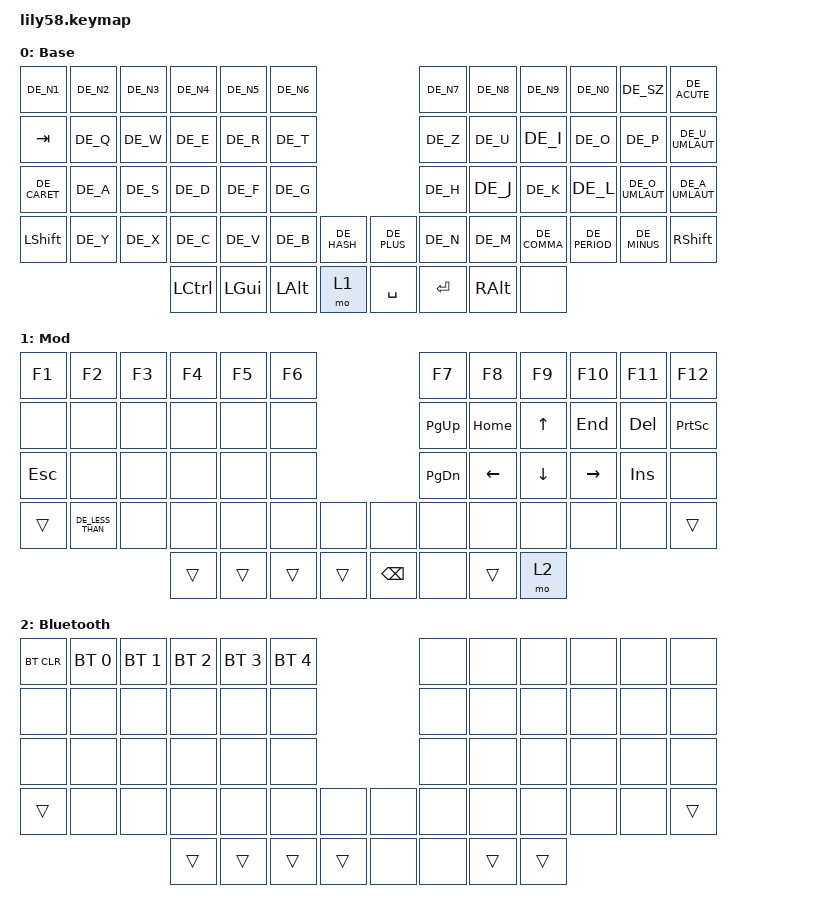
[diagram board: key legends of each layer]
/*
 * Copyright (c) 2020 The ZMK Contributors
 *
 * SPDX-License-Identifier: MIT
 */

#include "keys_de.h"
#include <behaviors.dtsi>
#include <dt-bindings/zmk/bt.h>
#include <dt-bindings/zmk/keys.h>

/ {
    keymap {
        compatible = "zmk,keymap";

        base {
            bindings = <
&kp DE_N1     &kp DE_N2  &kp DE_N3  &kp DE_N4         &kp DE_N5     &kp DE_N6                                 &kp DE_N7  &kp DE_N8      &kp DE_N9     &kp DE_N0      &kp DE_SZ        &kp DE_ACUTE
&kp TAB       &kp DE_Q   &kp DE_W   &kp DE_E          &kp DE_R      &kp DE_T                                  &kp DE_Z   &kp DE_U       &kp DE_I      &kp DE_O       &kp DE_P         &kp DE_U_UMLAUT
&kp DE_CARET  &kp DE_A   &kp DE_S   &kp DE_D          &kp DE_F      &kp DE_G                                  &kp DE_H   &kp DE_J       &kp DE_K      &kp DE_L       &kp DE_O_UMLAUT  &kp DE_A_UMLAUT
&kp LSHFT     &kp DE_Y   &kp DE_X   &kp DE_C          &kp DE_V      &kp DE_B      &kp DE_HASH    &kp DE_PLUS  &kp DE_N   &kp DE_M       &kp DE_COMMA  &kp DE_PERIOD  &kp DE_MINUS     &kp RSHFT
                                    &kp LEFT_CONTROL  &kp LEFT_GUI  &kp LEFT_ALT  &mo 1          &kp SPACE    &kp ENTER  &kp RIGHT_ALT  &none
            >;

            label = "Base";
        };

        mod {
            bindings = <
&kp F1      &kp F2            &kp F3  &kp F4  &kp F5  &kp F6                           &kp F7         &kp F8          &kp F9          &kp F10          &kp F11     &kp F12
&none       &none             &none   &none   &none   &none                            &kp PAGE_UP    &kp HOME        &kp UP_ARROW    &kp END          &kp DELETE  &kp PRINTSCREEN
&kp ESCAPE  &none             &none   &none   &none   &none                            &kp PAGE_DOWN  &kp LEFT_ARROW  &kp DOWN_ARROW  &kp RIGHT_ARROW  &kp INSERT  &none
&trans      &kp DE_LESS_THAN  &none   &none   &none   &none   &none     &none          &none          &none           &none           &none            &none       &trans
                                      &trans  &trans  &trans  &trans    &kp BACKSPACE  &none          &trans          &mo 2
            >;

            label = "Mod";
        };

        bluetooth {
            bindings = <
&bt BT_CLR  &bt BT_SEL 0  &bt BT_SEL 1  &bt BT_SEL 2  &bt BT_SEL 3  &bt BT_SEL 4                   &none  &none   &none   &none  &none  &none
&none       &none         &none         &none         &none         &none                          &none  &none   &none   &none  &none  &none
&none       &none         &none         &none         &none         &none                          &none  &none   &none   &none  &none  &none
&trans      &none         &none         &none         &none         &none         &none     &none  &none  &none   &none   &none  &none  &trans
                                        &trans        &trans        &trans        &trans    &none  &none  &trans  &trans
            >;

            label = "Bluetooth";
        };
    };
};
